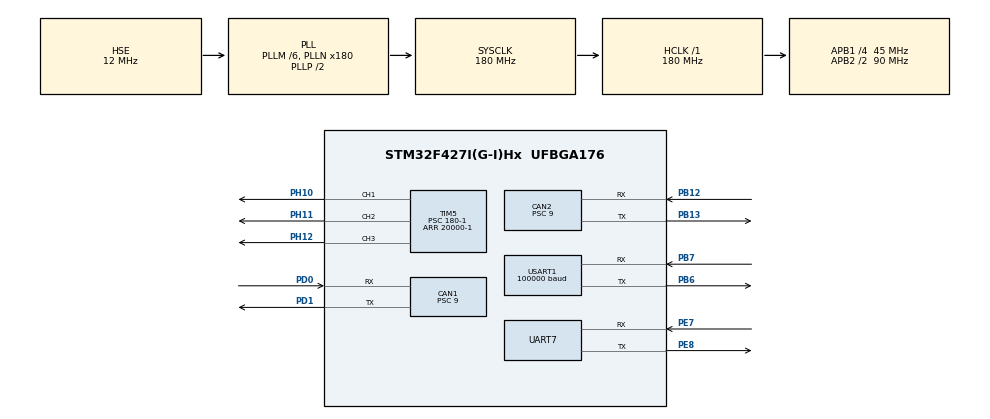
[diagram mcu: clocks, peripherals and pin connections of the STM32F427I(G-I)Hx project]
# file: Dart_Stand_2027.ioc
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CAN1.ABOM=ENABLE
CAN1.BS1=CAN_BS1_2TQ
CAN1.BS2=CAN_BS2_2TQ
CAN1.CalculateBaudRate=1000000
CAN1.CalculateTimeBit=1000
CAN1.CalculateTimeQuantum=200.0
CAN1.NART=ENABLE
CAN1.Prescaler=9
CAN2.ABOM=ENABLE
CAN2.BS1=CAN_BS1_2TQ
CAN2.BS2=CAN_BS2_2TQ
CAN2.CalculateBaudRate=1000000
CAN2.CalculateTimeBit=1000
CAN2.CalculateTimeQuantum=200.0
CAN2.NART=ENABLE
CAN2.Prescaler=9
Dma.Request0=USART1_RX
Dma.Request1=UART7_TX
Dma.Request2=UART7_RX
Dma.UART7_RX.2.Direction=DMA_PERIPH_TO_MEMORY
Dma.UART7_RX.2.FIFOMode=DMA_FIFOMODE_DISABLE
Dma.UART7_RX.2.Instance=DMA1_Stream3
Dma.UART7_RX.2.MemDataAlignment=DMA_MDATAALIGN_BYTE
Dma.UART7_RX.2.MemInc=DMA_MINC_ENABLE
Dma.UART7_RX.2.Mode=DMA_NORMAL
Dma.UART7_RX.2.PeriphDataAlignment=DMA_PDATAALIGN_BYTE
Dma.UART7_RX.2.PeriphInc=DMA_PINC_DISABLE
Dma.UART7_RX.2.Priority=DMA_PRIORITY_LOW
Dma.UART7_TX.1.Direction=DMA_MEMORY_TO_PERIPH
Dma.UART7_TX.1.FIFOMode=DMA_FIFOMODE_DISABLE
Dma.UART7_TX.1.Instance=DMA1_Stream1
Dma.UART7_TX.1.MemDataAlignment=DMA_MDATAALIGN_BYTE
Dma.UART7_TX.1.MemInc=DMA_MINC_ENABLE
Dma.UART7_TX.1.Mode=DMA_NORMAL
Dma.UART7_TX.1.PeriphDataAlignment=DMA_PDATAALIGN_BYTE
Dma.UART7_TX.1.PeriphInc=DMA_PINC_DISABLE
Dma.UART7_TX.1.Priority=DMA_PRIORITY_LOW
Dma.USART1_RX.0.Direction=DMA_PERIPH_TO_MEMORY
Dma.USART1_RX.0.FIFOMode=DMA_FIFOMODE_DISABLE
Dma.USART1_RX.0.Instance=DMA2_Stream2
Dma.USART1_RX.0.MemDataAlignment=DMA_MDATAALIGN_BYTE
Dma.USART1_RX.0.MemInc=DMA_MINC_ENABLE
Dma.USART1_RX.0.Mode=DMA_NORMAL
Dma.USART1_RX.0.PeriphDataAlignment=DMA_PDATAALIGN_BYTE
Dma.USART1_RX.0.PeriphInc=DMA_PINC_DISABLE
Dma.USART1_RX.0.Priority=DMA_PRIORITY_LOW
FREERTOS.Tasks01=defaultTask,24,128,StartDefaultTask,Default,NULL,Dynamic,NULL,NULL;Task_4310,24,128,Task_4310_start,As weak,NULL,Dynamic,NULL,NULL;Task_2006,25,128,Task_2006_start,As weak,NULL,Dynamic,NULL,NULL
Mcu.Family=STM32F4
Mcu.Name=STM32F427I(G-I)Hx
Mcu.Package=UFBGA176
NVIC.CAN1_RX0_IRQn=true\:5\:0\:false\:false\:true\:true\:true\:true\:true
NVIC.CAN1_RX1_IRQn=true\:5\:0\:false\:false\:true\:true\:true\:true\:true
NVIC.CAN2_RX0_IRQn=true\:5\:0\:false\:false\:true\:true\:true\:true\:true
NVIC.CAN2_RX1_IRQn=true\:5\:0\:false\:false\:true\:true\:true\:true\:true
NVIC.DMA1_Stream1_IRQn=true\:5\:0\:false\:false\:true\:true\:false\:true\:true
NVIC.DMA1_Stream3_IRQn=true\:5\:0\:false\:false\:true\:true\:false\:true\:true
NVIC.DMA2_Stream2_IRQn=true\:5\:0\:false\:false\:true\:true\:false\:true\:true
NVIC.PriorityGroup=NVIC_PRIORITYGROUP_4
NVIC.TIM8_TRG_COM_TIM14_IRQn=true\:15\:0\:false\:false\:true\:false\:false\:true\:true
NVIC.TimeBase=TIM8_TRG_COM_TIM14_IRQn
NVIC.TimeBaseIP=TIM14
NVIC.UART7_IRQn=true\:5\:0\:false\:false\:true\:true\:true\:true\:true
NVIC.USART1_IRQn=true\:5\:0\:false\:false\:true\:true\:true\:true\:true
PA13.Mode=Serial_Wire
PA13.Signal=SYS_JTMS-SWDIO
PA14.Mode=Serial_Wire
PA14.Signal=SYS_JTCK-SWCLK
PB12.Mode=CAN_Activate
PB12.Signal=CAN2_RX
PB13.Mode=CAN_Activate
PB13.Signal=CAN2_TX
PB6.Mode=Asynchronous
PB6.Signal=USART1_TX
PB7.Mode=Asynchronous
PB7.Signal=USART1_RX
PD0.Mode=CAN_Activate
PD0.Signal=CAN1_RX
PD1.Mode=CAN_Activate
PD1.Signal=CAN1_TX
PE7.Mode=Asynchronous
PE7.Signal=UART7_RX
PE8.Mode=Asynchronous
PE8.Signal=UART7_TX
PH0/OSC_IN.Mode=HSE-External-Oscillator
PH0/OSC_IN.Signal=RCC_OSC_IN
PH1/OSC_OUT.Mode=HSE-External-Oscillator
PH1/OSC_OUT.Signal=RCC_OSC_OUT
PH10.Signal=S_TIM5_CH1
PH11.Signal=S_TIM5_CH2
PH12.Signal=S_TIM5_CH3
ProjectManager.HeapSize=0x200
ProjectManager.StackSize=0x400
ProjectManager.TargetToolchain=CMake
RCC.48MHZClocksFreq_Value=90000000
RCC.AHBFreq_Value=180000000
RCC.APB1CLKDivider=RCC_HCLK_DIV4
RCC.APB1Freq_Value=45000000
RCC.APB1TimFreq_Value=90000000
RCC.APB2CLKDivider=RCC_HCLK_DIV2
RCC.APB2Freq_Value=90000000
RCC.APB2TimFreq_Value=180000000
RCC.CortexFreq_Value=180000000
RCC.HCLKFreq_Value=180000000
RCC.HSE_VALUE=12000000
RCC.HSI_VALUE=16000000
RCC.LSE_VALUE=32768
RCC.PLLM=6
RCC.PLLN=180
RCC.PLLSourceVirtual=RCC_PLLSOURCE_HSE
RCC.SYSCLKFreq_VALUE=180000000
RCC.SYSCLKSource=RCC_SYSCLKSOURCE_PLLCLK
RCC.VCOOutputFreq_Value=360000000
SH.S_TIM5_CH1.0=TIM5_CH1,PWM Generation1 CH1
SH.S_TIM5_CH2.0=TIM5_CH2,PWM Generation2 CH2
SH.S_TIM5_CH3.0=TIM5_CH3,PWM Generation3 CH3
TIM5.AutoReloadPreload=TIM_AUTORELOAD_PRELOAD_ENABLE
TIM5.Channel-PWM\ Generation1\ CH1=TIM_CHANNEL_1
TIM5.Channel-PWM\ Generation2\ CH2=TIM_CHANNEL_2
TIM5.Channel-PWM\ Generation3\ CH3=TIM_CHANNEL_3
TIM5.Period=20000-1
TIM5.Prescaler=180-1
UART7.VirtualMode=Asynchronous
USART1.BaudRate=100000
USART1.Parity=PARITY_EVEN
USART1.VirtualMode=VM_ASYNC
USART1.WordLength=WORDLENGTH_9B
VP_FREERTOS_VS_CMSIS_V2.Mode=CMSIS_V2
VP_SYS_VS_tim14.Mode=TIM14
VP_TIM5_VS_ClockSourceINT.Mode=Internal
board=custom

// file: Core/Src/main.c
/* USER CODE BEGIN Header */
/**
  ******************************************************************************
  * @file           : main.c
  * @brief          : Main program body
  ******************************************************************************
  * @attention
  *
  * Copyright (c) 2026 STMicroelectronics.
  * All rights reserved.
  *
  * This software is licensed under terms that can be found in the LICENSE file
  * in the root directory of this software component.
  * If no LICENSE file comes with this software, it is provided AS-IS.
  *
  ******************************************************************************
  */
/* USER CODE END Header */
#include "main.h"
#include "cmsis_os.h"
#include "can.h"
#include "dma.h"
#include "tim.h"
#include "usart.h"
#include "gpio.h"

/* USER CODE BEGIN Includes */
#include"DM_Motor.h"
#include "drv_can.h"
#include "vofa.h"
#include "RC_remoto_control.h"
#include "Windmil_2006.h"
//达妙4310 电机上电默认位置不是0点
/* USER CODE END Includes */

/* USER CODE BEGIN PV */
RC_Ctl_t RC_CtrlData;
uint8_t RxData[18] = {0};//接收遥控器数据的数,单缓冲区
uint8_t flag_RC = 0;//远程遥控相关的标志位
float DM_4310_position = 0.0f;//大风车达妙电机的位置
uint8_t Windmill_flag = 0;//大风车的状态机变量
uint32_t t0 = 0;//计时的变量
float Windmill_Target = 0.0f;//4310 位置目标的变量
//uint8_t flag_FIF0 = 0;//收到新帧后再处理角度,暂时设置一个变量
/* USER CODE END PV */

void SystemClock_Config(void);
void MX_FREERTOS_Init(void);

/* USER CODE BEGIN 0 */
void RemoteDataProcess(uint8_t *pData)//解析数据
{
  if(pData == NULL)
  {
    return;
  }

  RC_CtrlData.rc.ch0 = ((int16_t)pData[0] | ((int16_t)pData[1] << 8)) & 0x07FF;
  RC_CtrlData.rc.ch1 = (((int16_t)pData[1] >> 3) | ((int16_t)pData[2] << 5))
& 0x07FF;
  RC_CtrlData.rc.ch2 = (((int16_t)pData[2] >> 6) | ((int16_t)pData[3] << 2) |
                       ((int16_t)pData[4] << 10)) & 0x07FF;
  RC_CtrlData.rc.ch3 = (((int16_t)pData[4] >> 1) | ((int16_t)pData[5]<<7)) &
0x07FF;

  RC_CtrlData.rc.s1 = ((pData[5] >> 4) & 0x000C) >> 2;
  RC_CtrlData.rc.s2 = ((pData[5] >> 4) & 0x0003);

  RC_CtrlData.mouse.x = ((int16_t)pData[6]) | ((int16_t)pData[7] << 8);
  RC_CtrlData.mouse.y = ((int16_t)pData[8]) | ((int16_t)pData[9] << 8);
  RC_CtrlData.mouse.z = ((int16_t)pData[10]) | ((int16_t)pData[11] << 8);

  RC_CtrlData.mouse.press_l = pData[12];
  RC_CtrlData.mouse.press_r = pData[13];

  RC_CtrlData.key.v = ((int16_t)pData[14]);// | ((int16_t)pData[15] << 8); ;//上拨最小，下拨最大
  RC_CtrlData.rc.dial = pData[16] | (pData[17] << 8);//上拨最小，下拨最大
  //your control code ….
  if (RC_CtrlData.rc.ch3>1024)//向上拨摇杆，
  {
    flag_RC=1;
  }
  else if (RC_CtrlData.rc.ch3<1024)//向下拨摇杆
  {
    flag_RC=0;
  }
  else
  {
    //do nothing
  }
}
//重写串口空闲中断
void HAL_UARTEx_RxEventCallback(UART_HandleTypeDef *huart, uint16_t Size)
{
  if(huart==&huart1)
  {
    uint8_t*pData=RxData;
    if (Size==18)//判断是否接收的是完整的数据据
    {
      RemoteDataProcess(pData);
    }
    HAL_UARTEx_ReceiveToIdle_DMA(&huart1, RxData, 18);//持续接收数据
    __HAL_DMA_DISABLE_IT(&hdma_usart1_rx,DMA_IT_HT);
  }
}
/* USER CODE END 0 */

int main(void)
{

  /* MCU Configuration--------------------------------------------------------*/

  /* Reset of all peripherals, Initializes the Flash interface and the Systick. */
  HAL_Init();

  /* Configure the system clock */
  SystemClock_Config();

  /* Initialize all configured peripherals */
  MX_GPIO_Init();
  MX_DMA_Init();
  MX_CAN1_Init();
  MX_CAN2_Init();
  MX_TIM5_Init();
  MX_USART1_UART_Init();
  MX_UART7_Init();
  /* USER CODE BEGIN 2 */

  //CAN2初始化代码
  CAN_Init(&hcan2,User_CANCallback);//初始化CN2 准备使用机械臂的达妙电机
  CAN_Filter_Mask_Config(&hcan2,CAN_FILTER(16)|CAN_FIFO_0|CAN_STDID|CAN_DATA_TYPE,0x41,0x00);//配置滤波器

  //遥控器初始化相关函数
  HAL_UARTEx_ReceiveToIdle_DMA(&huart1, RxData, 18);//开启遥控器数据接收的串口
  __HAL_DMA_DISABLE_IT(&hdma_usart1_rx,DMA_IT_HT);//关掉有关DMA的接收一半数据就触发的中断

  //舵机初始化代码
  HAL_TIM_PWM_Start(&htim5, TIM_CHANNEL_1);//大风车舵机1初始化
  HAL_TIM_PWM_Start(&htim5, TIM_CHANNEL_2);//大风车舵机2初始化
  HAL_TIM_PWM_Start(&htim5, TIM_CHANNEL_3);//大风车舵机3初始化
  //初始化大风车舵机上电实际角度 具体角度看实际来调
  __HAL_TIM_SetCompare(&htim5, TIM_CHANNEL_1,200.0f);//初始未上膛//200.0放飞镖 320夹飞镖
  __HAL_TIM_SetCompare(&htim5, TIM_CHANNEL_2,600.0f);//初始未上膛//750放飞镖 600夹紧
  __HAL_TIM_SetCompare(&htim5, TIM_CHANNEL_3,630.0f);//初始未上膛//630放飞镖 400夹紧  //

  //初始化4310电机,变成位置模式
  DM_Motor_Init(&hcan2,0x51,POSITION);
  DM_Motor_Setposition(&hcan2,0x51,POSITION,0.0f,10.0f);//先让达妙电机上电回到0点
  HAL_Delay(1500);

  //初始化大疆电机2006
  PID_Init(&DJI_2006_speed);
  PID_Init(&DJI_2006_position);

  // DM_Motor_Init(&hcan2,0x51,SPEED);//初始化达妙电机,设置为位置模式 里面有HAL_Delay
  // DM_Motor_Setspeed(&hcan2,0x51,SPEED,10.0f);//右,正方向/大风车的方向到时候具体看
  /* USER CODE END 2 */

  /* Init scheduler */
  osKernelInitialize();  /* Call init function for freertos objects (in cmsis_os2.c) */
  MX_FREERTOS_Init();

  /* Start scheduler */
  osKernelStart();

  /* We should never get here as control is now taken by the scheduler */

  /* Infinite loop */
  while (1)
  {

  }
}

void SystemClock_Config(void)
{
  RCC_OscInitTypeDef RCC_OscInitStruct = {0};
  RCC_ClkInitTypeDef RCC_ClkInitStruct = {0};

  /** Configure the main internal regulator output voltage
  */
  __HAL_RCC_PWR_CLK_ENABLE();
  __HAL_PWR_VOLTAGESCALING_CONFIG(PWR_REGULATOR_VOLTAGE_SCALE1);

  /** Initializes the RCC Oscillators according to the specified parameters
  * in the RCC_OscInitTypeDef structure.
  */
  RCC_OscInitStruct.OscillatorType = RCC_OSCILLATORTYPE_HSE;
  RCC_OscInitStruct.HSEState = RCC_HSE_ON;
  RCC_OscInitStruct.PLL.PLLState = RCC_PLL_ON;
  RCC_OscInitStruct.PLL.PLLSource = RCC_PLLSOURCE_HSE;
  RCC_OscInitStruct.PLL.PLLM = 6;
  RCC_OscInitStruct.PLL.PLLN = 180;
  RCC_OscInitStruct.PLL.PLLP = RCC_PLLP_DIV2;
  RCC_OscInitStruct.PLL.PLLQ = 4;
  if (HAL_RCC_OscConfig(&RCC_OscInitStruct) != HAL_OK)
  {
    Error_Handler();
  }

  /** Activate the Over-Drive mode
  */
  if (HAL_PWREx_EnableOverDrive() != HAL_OK)
  {
    Error_Handler();
  }

  /** Initializes the CPU, AHB and APB buses clocks
  */
  RCC_ClkInitStruct.ClockType = RCC_CLOCKTYPE_HCLK|RCC_CLOCKTYPE_SYSCLK
                              |RCC_CLOCKTYPE_PCLK1|RCC_CLOCKTYPE_PCLK2;
  RCC_ClkInitStruct.SYSCLKSource = RCC_SYSCLKSOURCE_PLLCLK;
  RCC_ClkInitStruct.AHBCLKDivider = RCC_SYSCLK_DIV1;
  RCC_ClkInitStruct.APB1CLKDivider = RCC_HCLK_DIV4;
  RCC_ClkInitStruct.APB2CLKDivider = RCC_HCLK_DIV2;

  if (HAL_RCC_ClockConfig(&RCC_ClkInitStruct, FLASH_LATENCY_5) != HAL_OK)
  {
    Error_Handler();
  }
}

void HAL_TIM_PeriodElapsedCallback(TIM_HandleTypeDef *htim)
{
  if (htim->Instance == TIM14)
  {
    HAL_IncTick();
  }
}

void Error_Handler(void)
{
  __disable_irq();
  while (1)
  {
  }
}

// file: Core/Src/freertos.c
/* USER CODE BEGIN Header */
/**
  ******************************************************************************
  * File Name          : freertos.c
  * Description        : Code for freertos applications
  ******************************************************************************
  * @attention
  *
  * Copyright (c) 2026 STMicroelectronics.
  * All rights reserved.
  *
  * This software is licensed under terms that can be found in the LICENSE file
  * in the root directory of this software component.
  * If no LICENSE file comes with this software, it is provided AS-IS.
  *
  ******************************************************************************
  */
/* USER CODE END Header */

#include "FreeRTOS.h"
#include "task.h"
#include "main.h"
#include "cmsis_os.h"

/* Definitions for defaultTask */
osThreadId_t defaultTaskHandle;
const osThreadAttr_t defaultTask_attributes = {
  .name = "defaultTask",
  .stack_size = 128 * 4,
  .priority = (osPriority_t) osPriorityNormal,
};
/* Definitions for Task_4310 */
osThreadId_t Task_4310Handle;
const osThreadAttr_t Task_4310_attributes = {
  .name = "Task_4310",
  .stack_size = 128 * 4,
  .priority = (osPriority_t) osPriorityNormal,
};
/* Definitions for Task_2006 */
osThreadId_t Task_2006Handle;
const osThreadAttr_t Task_2006_attributes = {
  .name = "Task_2006",
  .stack_size = 128 * 4,
  .priority = (osPriority_t) osPriorityNormal1,
};

void StartDefaultTask(void *argument);
void Task_4310_start(void *argument);
void Task_2006_start(void *argument);

void MX_FREERTOS_Init(void); /* (MISRA C 2004 rule 8.1) */

void MX_FREERTOS_Init(void) {

  /* Create the thread(s) */
  /* creation of defaultTask */
  defaultTaskHandle = osThreadNew(StartDefaultTask, NULL, &defaultTask_attributes);

  /* creation of Task_4310 */
  Task_4310Handle = osThreadNew(Task_4310_start, NULL, &Task_4310_attributes);

  /* creation of Task_2006 */
  Task_2006Handle = osThreadNew(Task_2006_start, NULL, &Task_2006_attributes);

}

void StartDefaultTask(void *argument)
{
  for(;;)
  {
    osDelay(1);
  }
}

__weak void Task_4310_start(void *argument)
{
  for(;;)
  {
    osDelay(1);
  }
}

__weak void Task_2006_start(void *argument)
{
  for(;;)
  {
    osDelay(1);
  }
}
